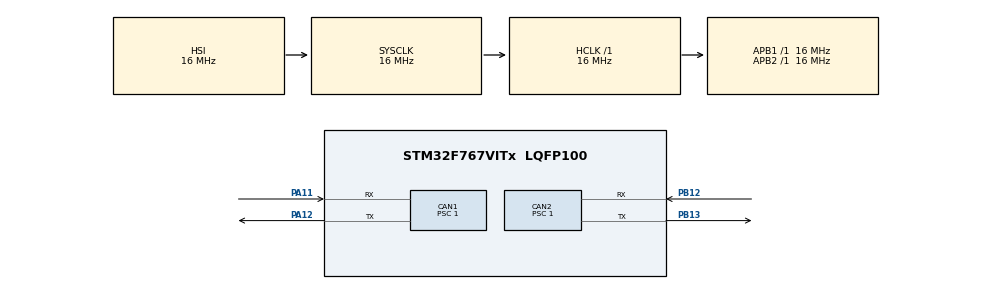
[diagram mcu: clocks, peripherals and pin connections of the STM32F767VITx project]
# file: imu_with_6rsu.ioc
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CAN1.BS1=CAN_BS1_14TQ
CAN1.BS2=CAN_BS2_1TQ
CAN1.CalculateBaudRate=1000000
CAN1.CalculateTimeBit=1000
CAN1.CalculateTimeQuantum=62.5
CAN1.Prescaler=1
CAN2.BS1=CAN_BS1_14TQ
CAN2.BS2=CAN_BS2_1TQ
CAN2.CalculateBaudRate=1000000
CAN2.CalculateTimeBit=1000
CAN2.CalculateTimeQuantum=62.5
CAN2.Prescaler=1
Mcu.Family=STM32F7
Mcu.Name=STM32F767VITx
Mcu.Package=LQFP100
NVIC.CAN1_RX0_IRQn=true\:0\:0\:false\:false\:true\:true\:true\:true
NVIC.CAN1_RX1_IRQn=true\:0\:0\:false\:false\:true\:true\:true\:true
NVIC.CAN1_SCE_IRQn=true\:0\:0\:false\:false\:true\:true\:true\:true
NVIC.CAN1_TX_IRQn=true\:0\:0\:false\:false\:true\:true\:true\:true
NVIC.CAN2_RX0_IRQn=true\:0\:0\:false\:false\:true\:true\:true\:true
NVIC.CAN2_RX1_IRQn=true\:0\:0\:false\:false\:true\:true\:true\:true
NVIC.CAN2_SCE_IRQn=true\:0\:0\:false\:false\:true\:true\:true\:true
NVIC.CAN2_TX_IRQn=true\:0\:0\:false\:false\:true\:true\:true\:true
NVIC.PriorityGroup=NVIC_PRIORITYGROUP_4
NVIC.RCC_IRQn=true\:0\:0\:false\:false\:true\:true\:false\:true
NVIC.TIM8_TRG_COM_TIM14_IRQn=true\:0\:0\:true\:false\:true\:true\:true\:true
PA11.Mode=CAN_Activate
PA11.Signal=CAN1_RX
PA12.Mode=CAN_Activate
PA12.Signal=CAN1_TX
PA13.Mode=Serial_Wire
PA13.Signal=SYS_JTMS-SWDIO
PA14.Mode=Serial_Wire
PA14.Signal=SYS_JTCK-SWCLK
PB12.Mode=CAN_Activate
PB12.Signal=CAN2_RX
PB13.Mode=CAN_Activate
PB13.Signal=CAN2_TX
PH0/OSC_IN.Mode=HSE-External-Oscillator
PH0/OSC_IN.Signal=RCC_OSC_IN
PH1/OSC_OUT.Mode=HSE-External-Oscillator
PH1/OSC_OUT.Signal=RCC_OSC_OUT
ProjectManager.HeapSize=0x200
ProjectManager.StackSize=0x400
ProjectManager.TargetToolchain=STM32CubeIDE
RCC.AHBFreq_Value=16000000
RCC.APB1Freq_Value=16000000
RCC.APB1TimFreq_Value=16000000
RCC.APB2Freq_Value=16000000
RCC.APB2TimFreq_Value=16000000
RCC.CortexFreq_Value=16000000
RCC.HCLKFreq_Value=16000000
RCC.HSE_VALUE=25000000
RCC.HSI_VALUE=16000000
RCC.LSE_VALUE=32768
RCC.PLLM=8
RCC.PLLN=96
RCC.PLLP=RCC_PLLP_DIV6
RCC.PLLSourceVirtual=RCC_PLLSOURCE_HSE
RCC.SYSCLKFreq_VALUE=16000000
RCC.USBFreq_Value=150000000
RCC.VCOOutputFreq_Value=300000000
TIM14.Period=999
TIM14.Prescaler=15
VP_TIM14_VS_ClockSourceINT.Mode=Enable_Timer
board=custom

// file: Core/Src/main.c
/* USER CODE BEGIN Header */
/**
  ******************************************************************************
  * @file           : main.c
  * @brief          : Main program body
  ******************************************************************************
  * @attention
  *
  * Copyright (c) 2024 STMicroelectronics.
  * All rights reserved.
  *
  * This software is licensed under terms that can be found in the LICENSE file
  * in the root directory of this software component.
  * If no LICENSE file comes with this software, it is provided AS-IS.
  *
  ******************************************************************************
  */
/* USER CODE END Header */
#include "main.h"

/* USER CODE BEGIN Includes */
#include "CO_app_STM32.h"
#include "CANopen.h"
#include "../CANopenNode/301/CO_SDOclient.h"
#include "../CANopenNode/301/CO_NMT_Heartbeat.h"
#include "../CANopenNode/301/CO_PDO.h"
#include "../CANopenNode/301/CO_PDO.h"
#include "OD.h"

#include <string.h>
#include <stdio.h>
#include "datatest.h"
#include <stdio.h>
#include <math.h>
#include <string.h>
#include <stdlib.h>
#define MAX_LINES 1351
#define MAX_COLS 6
#define ROWS 6
#define COLS 2
#define PERMUTATIONS 64
#define INPUTSIZE 6
#include <stdio.h>
#include <math.h>
#define ROWS 6
#define COLS 2
#define PERMUTATIONS 64

//#include <Theta_x.csv>

/* USER CODE END Includes */

/* USER CODE BEGIN PTD */
TIM_HandleTypeDef htim10;

/* USER CODE END PTD */

/* USER CODE BEGIN PM */
int COUNT;
float m1,m2,m3,m4,m5,m6,next_pos,prev_pos,motor1,motor2,motor3,motor4,motor5,motor6;
int i,j;
float datatestpulse[2679][6] ;

int32_t vel;

/* USER CODE END PM */

CAN_HandleTypeDef hcan1;
CAN_HandleTypeDef hcan2;

TIM_HandleTypeDef htim14;

void SystemClock_Config(void);
static void MX_GPIO_Init(void);
static void MX_CAN1_Init(void);
static void MX_CAN2_Init(void);
static void MX_TIM14_Init(void);
/* USER CODE BEGIN PFP */
float value, x, y, z, roll, pitch, yaw, x_input , y_input, z_input, roll_input, pitch_input, yaw_input ;
/* USER CODE END PFP */

/* USER CODE BEGIN 0 */
CO_SDO_abortCode_t read_SDO(CO_SDOclient_t *SDO_C, uint8_t nodeId,
                            uint16_t index, uint8_t subIndex,
                            uint8_t *buf, size_t bufSize, size_t *readSize)
{
    CO_SDO_return_t SDO_ret;

    // setup client (this can be skipped, if remote device don't change)
    SDO_ret = CO_SDOclient_setup(SDO_C,
                                 CO_CAN_ID_SDO_CLI + nodeId,
                                 CO_CAN_ID_SDO_SRV + nodeId,
                                 nodeId);
    if (SDO_ret != CO_SDO_RT_ok_communicationEnd) {
        return CO_SDO_AB_GENERAL;
    }

    // initiate upload
    SDO_ret = CO_SDOclientUploadInitiate(SDO_C, index, subIndex, 1000, false);
    if (SDO_ret != CO_SDO_RT_ok_communicationEnd) {
        return CO_SDO_AB_GENERAL;
    }

    // upload data
    do {
        uint32_t timeDifference_us = 10000;
        CO_SDO_abortCode_t abortCode = CO_SDO_AB_NONE;

        SDO_ret = CO_SDOclientUpload(SDO_C,
                                     timeDifference_us,
                                     false,
                                     &abortCode,
                                     NULL, NULL, NULL);
        if (SDO_ret < 0) {
            return abortCode;
        }

        HAL_Delay(1);
    } while(SDO_ret > 0);

    // copy data to the user buffer (for long data function must be called
    // several times inside the loop)
    *readSize = CO_SDOclientUploadBufRead(SDO_C, buf, bufSize);

    return CO_SDO_AB_NONE;
}

CO_SDO_abortCode_t write_SDO(CO_SDOclient_t *SDO_C, uint8_t nodeId,
                             uint16_t index, uint8_t subIndex,
                             uint8_t *data, size_t dataSize)
{
    CO_SDO_return_t SDO_ret;
    bool_t bufferPartial = false;

    // setup client (this can be skipped, if remote device is the same)
    SDO_ret = CO_SDOclient_setup(SDO_C,
                                 CO_CAN_ID_SDO_CLI + nodeId,
                                 CO_CAN_ID_SDO_SRV + nodeId,
                                 nodeId);
    if (SDO_ret != CO_SDO_RT_ok_communicationEnd) {
        return -1;
    }

    // initiate download
    SDO_ret = CO_SDOclientDownloadInitiate(SDO_C, index, subIndex,
                                           dataSize, 1000, false);
    if (SDO_ret != CO_SDO_RT_ok_communicationEnd) {
        return -1;
    }

    // fill data
    size_t nWritten = CO_SDOclientDownloadBufWrite(SDO_C, data, dataSize);
    if (nWritten < dataSize) {
        bufferPartial = true;
        // If SDO Fifo buffer is too small, data can be refilled in the loop.
    }

    //download data
    do {
        uint32_t timeDifference_us = 10000;
        CO_SDO_abortCode_t abortCode = CO_SDO_AB_NONE;

        SDO_ret = CO_SDOclientDownload(SDO_C,
                                       timeDifference_us,
                                       false,
                                       bufferPartial,
                                       &abortCode,
                                       NULL, NULL);
        if (SDO_ret < 0) {
            return abortCode;
        }

        HAL_Delay(1);
    } while(SDO_ret > 0);

    return CO_SDO_AB_NONE;
}

/* USER CODE END 0 */

int main(void)
{

  /* MCU Configuration--------------------------------------------------------*/

  /* Reset of all peripherals, Initializes the Flash interface and the Systick. */
  HAL_Init();

  /* Configure the system clock */
  SystemClock_Config();

  /* Initialize all configured peripherals */
  MX_GPIO_Init();
  MX_CAN1_Init();
  MX_CAN2_Init();
  MX_TIM14_Init();
  /* USER CODE BEGIN 2 */

  CANopenNodeSTM32 canopenNodeSTM32;
   canopenNodeSTM32.CANHandle = &hcan2;
   canopenNodeSTM32.HWInitFunction = MX_CAN2_Init;
   canopenNodeSTM32.timerHandle = &htim14;
   canopenNodeSTM32.desiredNodeID = 7;
   canopenNodeSTM32.baudrate = 1000;
   canopen_app_init(&canopenNodeSTM32);

  uint16_t tmp1 = 0x80;
  uint16_t tmp2 = 0x00;
  uint16_t tmp3 = 0x06;
  uint16_t tmp4 = 0x07;
  uint16_t tmp5 = 0x0F;

  int8_t interpolation_mode = 0x07;
  int16_t Interpolation_sub_mode_select = 0;

  uint8_t Interpolation_Time_Units = 10;
  int8_t Interpolation_Time_Index = -3;

  //control_word for node1(Gearbox1)...............................................................

      write_SDO(canopenNodeSTM32.canOpenStack->SDOclient , 1, 0x6040, 00, &tmp1, 2);
      HAL_Delay(10);
      write_SDO(canopenNodeSTM32.canOpenStack->SDOclient , 1, 0x6040, 00, &tmp2, 2);
      HAL_Delay(10);
      write_SDO(canopenNodeSTM32.canOpenStack->SDOclient , 1, 0x6040, 00, &tmp3, 2);
      HAL_Delay(10);
      write_SDO(canopenNodeSTM32.canOpenStack->SDOclient , 1, 0x6040, 00, &tmp4, 2);
      HAL_Delay(10);
      write_SDO(canopenNodeSTM32.canOpenStack->SDOclient , 1, 0x6040, 00, &tmp5, 2);
      HAL_Delay(10);
      write_SDO(canopenNodeSTM32.canOpenStack->SDOclient , 1, 0x6060, 00, &interpolation_mode, 1);
      HAL_Delay(100);

      write_SDO(canopenNodeSTM32.canOpenStack->SDOclient , 1, 0x60C0, 00, &Interpolation_sub_mode_select, 2);
      HAL_Delay(10);

      write_SDO(canopenNodeSTM32.canOpenStack->SDOclient , 1, 0x60C2, 0x01, &Interpolation_Time_Units, 1);
      HAL_Delay(10);

      write_SDO(canopenNodeSTM32.canOpenStack->SDOclient , 1, 0x60C2, 0x02, &Interpolation_Time_Index, 1);
      HAL_Delay(10);

   //control_word for node2(Gearbox2)...............................................................

      write_SDO(canopenNodeSTM32.canOpenStack->SDOclient , 2, 0x6040, 00, &tmp1, 2);
      HAL_Delay(10);
      write_SDO(canopenNodeSTM32.canOpenStack->SDOclient , 2, 0x6040, 00, &tmp2, 2);
      HAL_Delay(10);
      write_SDO(canopenNodeSTM32.canOpenStack->SDOclient , 2, 0x6040, 00, &tmp3, 2);
      HAL_Delay(10);
      write_SDO(canopenNodeSTM32.canOpenStack->SDOclient , 2, 0x6040, 00, &tmp4, 2);
      HAL_Delay(10);
      write_SDO(canopenNodeSTM32.canOpenStack->SDOclient , 2, 0x6040, 00, &tmp5, 2);
      HAL_Delay(10);
      write_SDO(canopenNodeSTM32.canOpenStack->SDOclient , 2, 0x6060, 00, &interpolation_mode, 1);
      HAL_Delay(100);

      write_SDO(canopenNodeSTM32.canOpenStack->SDOclient , 2, 0x60C0, 00, &Interpolation_sub_mode_select, 2);
      HAL_Delay(10);

      write_SDO(canopenNodeSTM32.canOpenStack->SDOclient , 2, 0x60C2, 0x01, &Interpolation_Time_Units, 1);
      HAL_Delay(10);

      write_SDO(canopenNodeSTM32.canOpenStack->SDOclient , 2, 0x60C2, 0x02, &Interpolation_Time_Index, 1);
      HAL_Delay(10);

  //control_word for node3(Gearbox3)...............................................................

      write_SDO(canopenNodeSTM32.canOpenStack->SDOclient , 3, 0x6040, 00, &tmp1, 2);
      HAL_Delay(10);
      write_SDO(canopenNodeSTM32.canOpenStack->SDOclient , 3, 0x6040, 00, &tmp2, 2);
      HAL_Delay(10);
      write_SDO(canopenNodeSTM32.canOpenStack->SDOclient , 3, 0x6040, 00, &tmp3, 2);
      HAL_Delay(10);
      write_SDO(canopenNodeSTM32.canOpenStack->SDOclient , 3, 0x6040, 00, &tmp4, 2);
      HAL_Delay(10);
      write_SDO(canopenNodeSTM32.canOpenStack->SDOclient , 3, 0x6040, 00, &tmp5, 2);
      HAL_Delay(10);
      write_SDO(canopenNodeSTM32.canOpenStack->SDOclient , 3, 0x6060, 00, &interpolation_mode, 1);
      HAL_Delay(100);

      write_SDO(canopenNodeSTM32.canOpenStack->SDOclient , 3, 0x60C0, 00, &Interpolation_sub_mode_select, 2);
      HAL_Delay(10);

      write_SDO(canopenNodeSTM32.canOpenStack->SDOclient , 3, 0x60C2, 0x01, &Interpolation_Time_Units, 1);
      HAL_Delay(10);

      write_SDO(canopenNodeSTM32.canOpenStack->SDOclient , 3, 0x60C2, 0x02, &Interpolation_Time_Index, 1);
      HAL_Delay(10);

 //control_word for node4(Gearbox4)...............................................................

      write_SDO(canopenNodeSTM32.canOpenStack->SDOclient , 4, 0x6040, 00, &tmp1, 2);
      HAL_Delay(10);
      write_SDO(canopenNodeSTM32.canOpenStack->SDOclient , 4, 0x6040, 00, &tmp2, 2);
      HAL_Delay(10);
      write_SDO(canopenNodeSTM32.canOpenStack->SDOclient , 4, 0x6040, 00, &tmp3, 2);
      HAL_Delay(10);
      write_SDO(canopenNodeSTM32.canOpenStack->SDOclient , 4, 0x6040, 00, &tmp4, 2);
      HAL_Delay(10);
      write_SDO(canopenNodeSTM32.canOpenStack->SDOclient , 4, 0x6040, 00, &tmp5, 2);
      HAL_Delay(10);
      write_SDO(canopenNodeSTM32.canOpenStack->SDOclient , 4, 0x6060, 00, &interpolation_mode, 1);
      HAL_Delay(100);

      write_SDO(canopenNodeSTM32.canOpenStack->SDOclient , 4, 0x60C0, 00, &Interpolation_sub_mode_select, 2);
      HAL_Delay(10);

      write_SDO(canopenNodeSTM32.canOpenStack->SDOclient , 4, 0x60C2, 0x01, &Interpolation_Time_Units, 1);
      HAL_Delay(10);

      write_SDO(canopenNodeSTM32.canOpenStack->SDOclient , 4, 0x60C2, 0x02, &Interpolation_Time_Index, 1);
      HAL_Delay(10);
  //control_word for node5(Gearbox5)...............................................................

      write_SDO(canopenNodeSTM32.canOpenStack->SDOclient , 5, 0x6040, 00, &tmp1, 2);
      HAL_Delay(10);
      write_SDO(canopenNodeSTM32.canOpenStack->SDOclient , 5, 0x6040, 00, &tmp2, 2);
      HAL_Delay(10);
      write_SDO(canopenNodeSTM32.canOpenStack->SDOclient , 5, 0x6040, 00, &tmp3, 2);
      HAL_Delay(10);
      write_SDO(canopenNodeSTM32.canOpenStack->SDOclient , 5, 0x6040, 00, &tmp4, 2);
      HAL_Delay(10);
      write_SDO(canopenNodeSTM32.canOpenStack->SDOclient , 5, 0x6040, 00, &tmp5, 2);
      HAL_Delay(10);
      write_SDO(canopenNodeSTM32.canOpenStack->SDOclient , 5, 0x6060, 00, &interpolation_mode, 1);
      HAL_Delay(100);

      write_SDO(canopenNodeSTM32.canOpenStack->SDOclient , 5, 0x60C0, 00, &Interpolation_sub_mode_select, 2);
      HAL_Delay(10);

      write_SDO(canopenNodeSTM32.canOpenStack->SDOclient , 5, 0x60C2, 0x01, &Interpolation_Time_Units, 1);
      HAL_Delay(10);

      write_SDO(canopenNodeSTM32.canOpenStack->SDOclient , 5, 0x60C2, 0x02, &Interpolation_Time_Index, 1);
      HAL_Delay(10);

 //control_word for node6(Gearbox6)...............................................................

      write_SDO(canopenNodeSTM32.canOpenStack->SDOclient , 6, 0x6040, 00, &tmp1, 2);
      HAL_Delay(10);
      write_SDO(canopenNodeSTM32.canOpenStack->SDOclient , 6, 0x6040, 00, &tmp2, 2);
      HAL_Delay(10);
      write_SDO(canopenNodeSTM32.canOpenStack->SDOclient , 6, 0x6040, 00, &tmp3, 2);
      HAL_Delay(10);
      write_SDO(canopenNodeSTM32.canOpenStack->SDOclient , 6, 0x6040, 00, &tmp4, 2);
      HAL_Delay(10);
      write_SDO(canopenNodeSTM32.canOpenStack->SDOclient , 6, 0x6040, 00, &tmp5, 2);
      HAL_Delay(10);
      write_SDO(canopenNodeSTM32.canOpenStack->SDOclient , 6, 0x6060, 00, &interpolation_mode, 1);
      HAL_Delay(100);

      write_SDO(canopenNodeSTM32.canOpenStack->SDOclient , 6, 0x60C0, 00, &Interpolation_sub_mode_select, 2);
      HAL_Delay(10);

      write_SDO(canopenNodeSTM32.canOpenStack->SDOclient , 6, 0x60C2, 0x01, &Interpolation_Time_Units, 1);
      HAL_Delay(10);

      write_SDO(canopenNodeSTM32.canOpenStack->SDOclient , 6, 0x60C2, 0x02, &Interpolation_Time_Index, 1);
      HAL_Delay(10);

/////////////////tpdo/node1............................................................

       uint32_t CW1 ;
       uint8_t CW2 ;
       uint8_t CW3 ;
       uint32_t CW4 ;
       uint32_t CW5 ;
       uint8_t CW6 ;
       uint32_t CW7 ;

       CW1 = 0x80000301;
       write_SDO(canopenNodeSTM32.canOpenStack->SDOclient , 1, 0x1400, 0x01, &CW1, 4);
       HAL_Delay(100);

       CW2 = 0xFF;
       write_SDO(canopenNodeSTM32.canOpenStack->SDOclient , 1, 0x1400, 0x02, &CW2, 1);
       HAL_Delay(100);

       CW3 = 0x00;
       write_SDO(canopenNodeSTM32.canOpenStack->SDOclient , 1, 0x1600, 0x00, &CW3, 1);
       HAL_Delay(100);

       CW4 = 0x60C10120;
       write_SDO(canopenNodeSTM32.canOpenStack->SDOclient , 1, 0x1600, 0x01, &CW4, 4);
       HAL_Delay(100);

       CW5 = 0x60C10210;
       write_SDO(canopenNodeSTM32.canOpenStack->SDOclient , 1, 0x1600, 0x02, &CW5, 4);
       HAL_Delay(100);

       CW6 = 2;
       write_SDO(canopenNodeSTM32.canOpenStack->SDOclient , 1, 0x1600, 0x00, &CW6, 1);
       HAL_Delay(100);

       CW7 = 0x301;
       write_SDO(canopenNodeSTM32.canOpenStack->SDOclient , 1, 0x1400, 0x01, &CW7, 4);
       HAL_Delay(100);

/////////////////////tpdo/node2.................................................................

       CW1 = 0x80000302;
       write_SDO(canopenNodeSTM32.canOpenStack->SDOclient , 2, 0x1400, 0x01, &CW1, 4);
       HAL_Delay(100);

       CW2 = 0xFF;
       write_SDO(canopenNodeSTM32.canOpenStack->SDOclient , 2, 0x1400, 0x02, &CW2, 1);
       HAL_Delay(100);

       CW3 = 0x00;
       write_SDO(canopenNodeSTM32.canOpenStack->SDOclient , 2, 0x1600, 0x00, &CW3, 1);
       HAL_Delay(100);

       CW4 = 0x60C10120;
       write_SDO(canopenNodeSTM32.canOpenStack->SDOclient , 2, 0x1600, 0x01, &CW4, 4);
       HAL_Delay(100);

       CW5 = 0x60C10210;
       write_SDO(canopenNodeSTM32.canOpenStack->SDOclient , 2, 0x1600, 0x02, &CW5, 4);
       HAL_Delay(100);

       CW6 = 2;
       write_SDO(canopenNodeSTM32.canOpenStack->SDOclient , 2, 0x1600, 0x00, &CW6, 1);
       HAL_Delay(100);

       CW7 = 0x302;
       write_SDO(canopenNodeSTM32.canOpenStack->SDOclient , 2, 0x1400, 0x01, &CW7, 4);
       HAL_Delay(100);

/////////////////tpdo/node3....................................................................

       CW1 = 0x80000303;
       write_SDO(canopenNodeSTM32.canOpenStack->SDOclient , 3, 0x1400, 0x01, &CW1, 4);
       HAL_Delay(100);

       CW2 = 0xFF;
       write_SDO(canopenNodeSTM32.canOpenStack->SDOclient , 3, 0x1400, 0x02, &CW2, 1);
       HAL_Delay(100);

       CW3 = 0x00;
       write_SDO(canopenNodeSTM32.canOpenStack->SDOclient , 3, 0x1600, 0x00, &CW3, 1);
       HAL_Delay(100);

       CW4 = 0x60C10120;
       write_SDO(canopenNodeSTM32.canOpenStack->SDOclient , 3, 0x1600, 0x01, &CW4, 4);
       HAL_Delay(100);

       CW5 = 0x60C10210;
       write_SDO(canopenNodeSTM32.canOpenStack->SDOclient , 3, 0x1600, 0x02, &CW5, 4);
       HAL_Delay(100);

       CW6 = 2;
       write_SDO(canopenNodeSTM32.canOpenStack->SDOclient , 3, 0x1600, 0x00, &CW6, 1);
       HAL_Delay(100);

       CW7 = 0x303;
       write_SDO(canopenNodeSTM32.canOpenStack->SDOclient , 3, 0x1400, 0x01, &CW7, 4);
       HAL_Delay(100);

      ////////////////tpdo/node4...................................................

       CW1 = 0x80000304;
       write_SDO(canopenNodeSTM32.canOpenStack->SDOclient , 4, 0x1400, 0x01, &CW1, 4);
       HAL_Delay(100);

       CW2 = 0xFF;
       write_SDO(canopenNodeSTM32.canOpenStack->SDOclient , 4, 0x1400, 0x02, &CW2, 1);
       HAL_Delay(100);

       CW3 = 0x00;
       write_SDO(canopenNodeSTM32.canOpenStack->SDOclient , 4, 0x1600, 0x00, &CW3, 1);
       HAL_Delay(100);

       CW4 = 0x60C10120;
       write_SDO(canopenNodeSTM32.canOpenStack->SDOclient , 4, 0x1600, 0x01, &CW4, 4);
       HAL_Delay(100);

       CW5 = 0x60C10210;
       write_SDO(canopenNodeSTM32.canOpenStack->SDOclient , 4, 0x1600, 0x02, &CW5, 4);
       HAL_Delay(100);

       CW6 = 2;
       write_SDO(canopenNodeSTM32.canOpenStack->SDOclient , 4, 0x1600, 0x00, &CW6, 1);
       HAL_Delay(100);

       CW7 = 0x304;
       write_SDO(canopenNodeSTM32.canOpenStack->SDOclient , 4, 0x1400, 0x01, &CW7, 4);
       HAL_Delay(100);

//////////////////tpdo/node5..............................................

       CW1 = 0x80000305;
       write_SDO(canopenNodeSTM32.canOpenStack->SDOclient , 5, 0x1400, 0x01, &CW1, 4);
       HAL_Delay(100);

       CW2 = 0xFF;
       write_SDO(canopenNodeSTM32.canOpenStack->SDOclient , 5, 0x1400, 0x02, &CW2, 1);
       HAL_Delay(100);

       CW3 = 0x00;
       write_SDO(canopenNodeSTM32.canOpenStack->SDOclient , 5, 0x1600, 0x00, &CW3, 1);
       HAL_Delay(100);

       CW4 = 0x60C10120;
       write_SDO(canopenNodeSTM32.canOpenStack->SDOclient , 5, 0x1600, 0x01, &CW4, 4);
       HAL_Delay(100);

       CW5 = 0x60C10210;
       write_SDO(canopenNodeSTM32.canOpenStack->SDOclient , 5, 0x1600, 0x02, &CW5, 4);
       HAL_Delay(100);

       CW6 = 2;
       write_SDO(canopenNodeSTM32.canOpenStack->SDOclient , 5, 0x1600, 0x00, &CW6, 1);
       HAL_Delay(100);

       CW7 = 0x305;
       write_SDO(canopenNodeSTM32.canOpenStack->SDOclient , 5, 0x1400, 0x01, &CW7, 4);
       HAL_Delay(100);

   ////////////////////////tpdo/node6........................................................

       CW1 = 0x80000306;
       write_SDO(canopenNodeSTM32.canOpenStack->SDOclient , 6, 0x1400, 0x01, &CW1, 4);
       HAL_Delay(100);

       CW2 = 0xFF;
       write_SDO(canopenNodeSTM32.canOpenStack->SDOclient , 6, 0x1400, 0x02, &CW2, 1);
       HAL_Delay(100);

       CW3 = 0x00;
       write_SDO(canopenNodeSTM32.canOpenStack->SDOclient , 6, 0x1600, 0x00, &CW3, 1);
       HAL_Delay(100);

       CW4 = 0x60C10120;
       write_SDO(canopenNodeSTM32.canOpenStack->SDOclient , 6, 0x1600, 0x01, &CW4, 4);
       HAL_Delay(100);

       CW5 = 0x60C10210;
       write_SDO(canopenNodeSTM32.canOpenStack->SDOclient , 6, 0x1600, 0x02, &CW5, 4);
       HAL_Delay(100);

       CW6 = 2;
       write_SDO(canopenNodeSTM32.canOpenStack->SDOclient , 6, 0x1600, 0x00, &CW6, 1);
       HAL_Delay(100);

       CW7 = 0x306;
       write_SDO(canopenNodeSTM32.canOpenStack->SDOclient , 6, 0x1400, 0x01, &CW7, 4);
       HAL_Delay(100);

  /* USER CODE END 2 */

  /* Infinite loop */
  /* USER CODE BEGIN WHILE */

//OPERATIONAL 6 nodes...............................................................................
		CO_NMT_command_t CO_NMT_OPERATIONAL;
		CO_NMT_sendCommand(canopenNodeSTM32.canOpenStack->NMT, CO_NMT_ENTER_OPERATIONAL, 1);
		HAL_Delay(10);
		CO_NMT_sendCommand(canopenNodeSTM32.canOpenStack->NMT, CO_NMT_ENTER_OPERATIONAL, 2);
		HAL_Delay(10);
		CO_NMT_sendCommand(canopenNodeSTM32.canOpenStack->NMT, CO_NMT_ENTER_OPERATIONAL, 3);
		HAL_Delay(10);
		CO_NMT_sendCommand(canopenNodeSTM32.canOpenStack->NMT, CO_NMT_ENTER_OPERATIONAL, 4);
		HAL_Delay(10);
		CO_NMT_sendCommand(canopenNodeSTM32.canOpenStack->NMT, CO_NMT_ENTER_OPERATIONAL, 5);
		HAL_Delay(10);
		CO_NMT_sendCommand(canopenNodeSTM32.canOpenStack->NMT, CO_NMT_ENTER_OPERATIONAL, 6);
		HAL_Delay(10);

//convert degrees to pulses on all points...........................................................................

	  for (i=0 ; i<2679 ; i++) {
		  for (j=0 ; j<6 ; j++) {
			  if (j==0) {
				  	  datatestpulse[i][j] = ((datatest[i][j]) + 89.0119)*(1280000)/(6) ;

			  } else if (j==1) {
				  	  datatestpulse[i][j] = ((datatest[i][j]) + 89.0119)*(1280000)/(6) ;

				  }

			   else if (j==2) {
					  datatestpulse[i][j] = ((datatest[i][j]) + 89.0119)*(1280000)/(6) ;

				  }

			    else if (j==3) {
					  datatestpulse[i][j] = ((datatest[i][j]) + 89.0119)*(1280000)/(6) ;

				  }

			    else if (j==4) {
					  datatestpulse[i][j] = ((datatest[i][j]) + 89.0119)*(1280000)/(6) ;

				  }

			    else if (j==5) {
					  datatestpulse[i][j] = ((datatest[i][j]) + 89.0119)*(1280000)/(6) ;

				  }

				  }

		  }

//		HAL_TIM_Base_Start_IT(&htim4);
		HAL_Delay(10);

  while (1)
  {
	  canopen_app_process();

	  		  for (i=0 ; i<2678 ; i++) {
	  			  for (j=0 ; j<6 ; j++) {
	  				  if (j==0) {
	  					  if(i==0){
	  						  m1 = datatestpulse[i][j] ;
	  						  prev_pos = datatestpulse[i][j];
	  						  next_pos = datatestpulse[i+1][j];
	  						  vel = (next_pos -  prev_pos)/20;
	  						  OD_PERSIST_COMM.x607A_target_position1.subObject_1 = m1;
	  						  OD_PERSIST_COMM.x607A_target_position1.subObject_2= (next_pos -  prev_pos)/20;
	  						  HAL_Delay(0.5);
	  					  }
	  					  else{
	  						  m1 = datatestpulse[i][j] ;
	  						  prev_pos = datatestpulse[i-1][j] ;
	  						  next_pos = datatestpulse[i+1][j];
	  						  vel = (next_pos -  prev_pos)/20;
	  						  OD_PERSIST_COMM.x607A_target_position1.subObject_1 = m1;
	  						  OD_PERSIST_COMM.x607A_target_position1.subObject_2= (next_pos -  prev_pos)/20;
	  						  HAL_Delay(0.5);
	  					  }

	  				  } else if (j==1) {
	  					  if(i==0){
	  						  m2 = datatestpulse[i][j] ;
	  						  prev_pos = datatestpulse[i][j];
	  						  next_pos = datatestpulse[i+1][j];
	  						  OD_PERSIST_COMM.x707A_target_position2.subObject_1 = m2;
	  						  OD_PERSIST_COMM.x707A_target_position2.subObject_2= (next_pos -  prev_pos)/20;
	  						  HAL_Delay(0.5);
	  					  }
	  					  else{
	  						  m2 = datatestpulse[i][j] ;
	  						  prev_pos = datatestpulse[i-1][j];
	  						  next_pos = datatestpulse[i+1][j];
	  						  OD_PERSIST_COMM.x707A_target_position2.subObject_1 = m2;
	  						  OD_PERSIST_COMM.x707A_target_position2.subObject_2 = (next_pos -  prev_pos)/20;
	  						  HAL_Delay(0.5);
	  					  }

	  				  }else if (j==2) {
	  					  if(i==0){
	  						  m3 = datatestpulse[i][j] ;
	  						  prev_pos = datatestpulse[i][j];
	  						  next_pos = datatestpulse[i+1][j];
	  						  OD_PERSIST_COMM.x807A_target_position3.subObject_1 = m3;
	  						  OD_PERSIST_COMM.x807A_target_position3.subObject_2= (next_pos -  prev_pos)/20;
	  						  HAL_Delay(0.5);
	  					  }
	  					   else{
	  						  m3 = datatestpulse[i][j] ;
	  						  prev_pos = datatestpulse[i-1][j] ;
	  						  next_pos = datatestpulse[i+1][j];
	  						  OD_PERSIST_COMM.x807A_target_position3.subObject_1 = m3;
	  						  OD_PERSIST_COMM.x807A_target_position3.subObject_2= (next_pos -  prev_pos)/20;
	  						  HAL_Delay(0.5);
	  					   }

	  				   } else if (j==3) {
	  					  if(i==0){
	  						  m4 = datatestpulse[i][j] ;
	  						  prev_pos = datatestpulse[i][j];
	  						  next_pos = datatestpulse[i+1][j];
	  						  OD_PERSIST_COMM.x907A_target_position4.subObject_1 = m4;
	  						  OD_PERSIST_COMM.x907A_target_position4.subObject_2= (next_pos -  prev_pos)/20;
	  						  HAL_Delay(0.5);
	  					  }
	  					  else{
	  						  m4 = datatestpulse[i][j] ;
	  						  prev_pos = datatestpulse[i-1][j] ;
	  						  next_pos = datatestpulse[i+1][j];
	  						  OD_PERSIST_COMM.x907A_target_position4.subObject_1 = m4;
	  						  OD_PERSIST_COMM.x907A_target_position4.subObject_2= (next_pos -  prev_pos)/20;
	  						  HAL_Delay(0.5);
	  					  }

	  				   } else if (j==4) {
	  					   if(i==0){
	  						  m5 = datatestpulse[i][j] ;
	  						  prev_pos = datatestpulse[i][j];
	  						  next_pos = datatestpulse[i+1][j];
	  						  OD_PERSIST_COMM.x917A_target_position5.subObject_1 = m5;
	  						  OD_PERSIST_COMM.x917A_target_position5.subObject_2= (next_pos -  prev_pos)/20;
	  						  HAL_Delay(0.5);
	  					  }
	  					   else{
	  						  m5 = datatestpulse[i][j] ;
	  						  prev_pos = datatestpulse[i-1][j] ;
	  						  next_pos = datatestpulse[i+1][j];
	  						  OD_PERSIST_COMM.x917A_target_position5.subObject_1 = m5;
	  						  OD_PERSIST_COMM.x917A_target_position5.subObject_2= (next_pos -  prev_pos)/20;
	  						  HAL_Delay(0.5);
	  					  }

	  				  } else if (j==5) {
	  					  if(i==0){
	  						  m6 = datatestpulse[i][j] ;
	  						  prev_pos = datatestpulse[i][j];
	  						  next_pos = datatestpulse[i+1][j];
	  						  OD_PERSIST_COMM.x927A_target_position6.subObject_1 = m6;
	  						  OD_PERSIST_COMM.x927A_target_position6.subObject_2= (next_pos -  prev_pos)/20;
	  						  HAL_Delay(0.5);
	  					  }
	  					  else{
	  						  m6 = datatestpulse[i][j] ;
	  						  prev_pos = datatestpulse[i-1][j] ;
	  						  next_pos = datatestpulse[i+1][j];
	  						  OD_PERSIST_COMM.x927A_target_position6.subObject_1 = m6;
	  						  OD_PERSIST_COMM.x927A_target_position6.subObject_2= (next_pos -  prev_pos)/20;
	  						  HAL_Delay(0.5);
	  					  }

	  					  }

	  			  }
	  		  }
	  //			  HAL_TIM_Base_Stop(&htim4);
	  		  canopen_app_process();

    /* USER CODE END WHILE */

 }
}

void SystemClock_Config(void)
{
  RCC_OscInitTypeDef RCC_OscInitStruct = {0};
  RCC_ClkInitTypeDef RCC_ClkInitStruct = {0};

  /** Configure the main internal regulator output voltage
  */
  __HAL_RCC_PWR_CLK_ENABLE();
  __HAL_PWR_VOLTAGESCALING_CONFIG(PWR_REGULATOR_VOLTAGE_SCALE3);

  /** Initializes the RCC Oscillators according to the specified parameters
  * in the RCC_OscInitTypeDef structure.
  */
  RCC_OscInitStruct.OscillatorType = RCC_OSCILLATORTYPE_HSI;
  RCC_OscInitStruct.HSIState = RCC_HSI_ON;
  RCC_OscInitStruct.HSICalibrationValue = RCC_HSICALIBRATION_DEFAULT;
  RCC_OscInitStruct.PLL.PLLState = RCC_PLL_NONE;
  if (HAL_RCC_OscConfig(&RCC_OscInitStruct) != HAL_OK)
  {
    Error_Handler();
  }

  /** Initializes the CPU, AHB and APB buses clocks
  */
  RCC_ClkInitStruct.ClockType = RCC_CLOCKTYPE_HCLK|RCC_CLOCKTYPE_SYSCLK
                              |RCC_CLOCKTYPE_PCLK1|RCC_CLOCKTYPE_PCLK2;
  RCC_ClkInitStruct.SYSCLKSource = RCC_SYSCLKSOURCE_HSI;
  RCC_ClkInitStruct.AHBCLKDivider = RCC_SYSCLK_DIV1;
  RCC_ClkInitStruct.APB1CLKDivider = RCC_HCLK_DIV1;
  RCC_ClkInitStruct.APB2CLKDivider = RCC_HCLK_DIV1;

  if (HAL_RCC_ClockConfig(&RCC_ClkInitStruct, FLASH_LATENCY_0) != HAL_OK)
  {
    Error_Handler();
  }
}

static void MX_CAN1_Init(void)
{

  hcan1.Instance = CAN1;
  hcan1.Init.Prescaler = 1;
  hcan1.Init.Mode = CAN_MODE_NORMAL;
  hcan1.Init.SyncJumpWidth = CAN_SJW_1TQ;
  hcan1.Init.TimeSeg1 = CAN_BS1_14TQ;
  hcan1.Init.TimeSeg2 = CAN_BS2_1TQ;
  hcan1.Init.TimeTriggeredMode = DISABLE;
  hcan1.Init.AutoBusOff = DISABLE;
  hcan1.Init.AutoWakeUp = DISABLE;
  hcan1.Init.AutoRetransmission = DISABLE;
  hcan1.Init.ReceiveFifoLocked = DISABLE;
  hcan1.Init.TransmitFifoPriority = DISABLE;
  if (HAL_CAN_Init(&hcan1) != HAL_OK)
  {
    Error_Handler();
  }

}

static void MX_CAN2_Init(void)
{

  hcan2.Instance = CAN2;
  hcan2.Init.Prescaler = 1;
  hcan2.Init.Mode = CAN_MODE_NORMAL;
  hcan2.Init.SyncJumpWidth = CAN_SJW_1TQ;
  hcan2.Init.TimeSeg1 = CAN_BS1_14TQ;
  hcan2.Init.TimeSeg2 = CAN_BS2_1TQ;
  hcan2.Init.TimeTriggeredMode = DISABLE;
  hcan2.Init.AutoBusOff = DISABLE;
  hcan2.Init.AutoWakeUp = DISABLE;
  hcan2.Init.AutoRetransmission = DISABLE;
  hcan2.Init.ReceiveFifoLocked = DISABLE;
  hcan2.Init.TransmitFifoPriority = DISABLE;
  if (HAL_CAN_Init(&hcan2) != HAL_OK)
  {
    Error_Handler();
  }

}

static void MX_TIM14_Init(void)
{

  htim14.Instance = TIM14;
  htim14.Init.Prescaler = 15;
  htim14.Init.CounterMode = TIM_COUNTERMODE_UP;
  htim14.Init.Period = 999;
  htim14.Init.ClockDivision = TIM_CLOCKDIVISION_DIV1;
  htim14.Init.AutoReloadPreload = TIM_AUTORELOAD_PRELOAD_DISABLE;
  if (HAL_TIM_Base_Init(&htim14) != HAL_OK)
  {
    Error_Handler();
  }

}

static void MX_GPIO_Init(void)
{

  /* GPIO Ports Clock Enable */
  __HAL_RCC_GPIOH_CLK_ENABLE();
  __HAL_RCC_GPIOB_CLK_ENABLE();
  __HAL_RCC_GPIOA_CLK_ENABLE();

}

void Error_Handler(void)
{
  __disable_irq();
  while (1)
  {
  }
}
